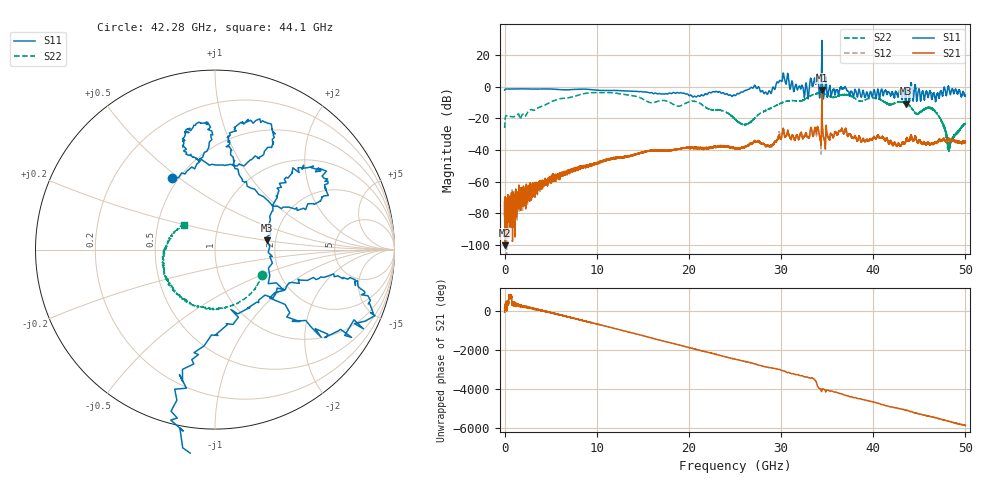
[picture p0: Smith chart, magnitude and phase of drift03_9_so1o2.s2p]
!Created with skrf (http://scikit-rf.org).
# Hz S RI R 50.0
!freq ReS11 ImS11 ReS21 ImS21 ReS12 ImS12 ReS22 ImS22
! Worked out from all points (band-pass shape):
!   10000 points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, 5.3 MHz to 50 GHz, reference 50 ohm
!   highest |S21| = -2.03 dB at 34.43 GHz (marker M1); lowest = -100.3 dB at 30.3 MHz (marker M2)
!   |S21| within 3 dB of the highest: 34.42779 GHz to 34.4347 GHz (6.907 MHz wide, 0.0201 % of centre)
!   lowest |S11| = -10.6 dB at 43.52 GHz (marker M3), VSWR 1.84, Z = 90.2 + j10.3 ohm
!   |S11| at or under -10 dB: 43.51136 GHz to 43.53397 GHz (22.6 MHz wide, 0.0519 % of centre); 43.53696 GHz to 43.54214 GHz (5.187 MHz wide, 0.0119 % of centre); 43.54964 GHz to 43.55028 GHz (642.2 kHz wide, 0.00147 % of centre)
!   |S22| runs from -41.8 to -3.6 dB; largest |S21 - S12| = 0.26
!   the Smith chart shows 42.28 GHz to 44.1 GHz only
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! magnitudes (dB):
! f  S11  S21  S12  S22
! 5.3 MHz  -2.1  -80.8  -81.0  -26.0
! 30.3 MHz  -1.8  -100.3  -76.2  -22.8
! 2.015 GHz  -1.3  -68.2  -68.6  -17.4
! 8.34 GHz  -1.5  -50.4  -50.3  -4.7
! 16.67 GHz  -4.4  -40.6  -40.2  -9.1
! 20.73 GHz  -6.2  -38.1  -38.3  -9.3
! 25.01 GHz  -5.5  -39.0  -38.9  -20.5
! 26.27 GHz  -2.1  -37.5  -37.4  -23.7
! 28.72 GHz  -2.5  -37.7  -37.6  -13.9
! 30.14 GHz  4.4  -29.5  -29.7  -10.0
! 32.74 GHz  2.0  -29.6  -29.2  -7.3
! 33.34 GHz  2.4  -27.4  -27.8  -5.3
! 33.82 GHz  3.9  -29.0  -29.4  -4.2
! 34.43 GHz  29.3  -2.0  -4.4  -4.0
! 36.48 GHz  -0.3  -27.9  -27.8  -5.4
! 41.67 GHz  -3.3  -35.7  -35.3  -11.0
! 43.52 GHz  -10.6  -34.4  -34.7  -10.2
! 44.73 GHz  -8.9  -34.8  -34.1  -17.3
! 46.55 GHz  -3.8  -36.4  -35.6  -14.7
! 47.5 GHz  -5.5  -33.3  -33.7  -23.0
! 48.27 GHz  -2.4  -33.3  -33.6  -36.1
! 50 GHz  -5.3  -34.7  -34.9  -23.3
